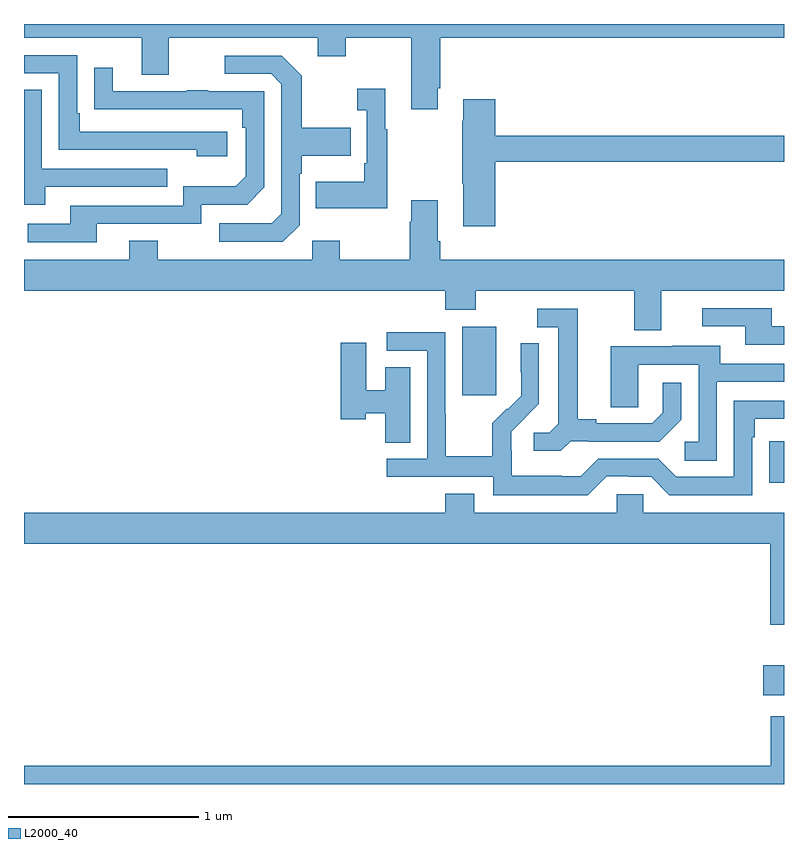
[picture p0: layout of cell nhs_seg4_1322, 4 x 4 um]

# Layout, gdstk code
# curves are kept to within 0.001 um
import gdstk
lib = gdstk.Library(unit=1e-6, precision=1e-09)
def R(c, l, rs):  # rectangles x0, y0, x1, y1
    for r in rs: c.add(gdstk.rectangle(r[:2], r[2:], *l))
def P(c, l, *ps):  # polygons
    for p in ps: c.add(gdstk.Polygon(p, *l))
L2000_40 = (2000, 40)

nhs_seg4_1322 = lib.new_cell('nhs_seg4_1322')
R(nhs_seg4_1322, L2000_40, [(182.892,785.366,183,785.524), (182.923,786.486,183,786.704), (181.307,786.945,181.486,787.306)])
P(nhs_seg4_1322, L2000_40, [(181.177,788.563),(181.19,788.563),(181.19,788.828),(183,788.828),(183,788.9),(179,788.9),(179,788.828),(179.621,788.828),(179.621,788.634),(179.761,788.634),(179.761,788.828),(180.545,788.828),(180.545,788.729),(180.693,788.729),(180.693,788.828),(181.037,788.828),(181.037,788.451),(181.177,788.451)],
  [(180.07,788.334),(179.293,788.334),(179.293,788.431),(179.28,788.431),(179.28,788.736),(179,788.736),(179,788.64),(179.184,788.64),(179.184,788.238),(179.909,788.238),(179.909,788.204),(180.07,788.204)],
  [(180.45,787.842),(180.45,788.111),(180.463,788.111),(180.463,788.207),(180.719,788.207),(180.719,788.355),(180.463,788.355),(180.463,788.627),(180.357,788.733),(180.057,788.733),(180.057,788.637),(180.3,788.637),(180.354,788.583),(180.354,787.902),(180.303,787.851),(180.027,787.851),(180.027,787.755),(180.363,787.755)],
  [(179.383,787.848),(179.934,787.848),(179.934,787.95),(180.174,787.95),(180.264,788.04),(180.264,788.547),(179.969,788.547),(179.969,788.552),(179.857,788.552),(179.857,788.547),(179.467,788.547),(179.467,788.671),(179.371,788.671),(179.371,788.452),(180.148,788.451),(180.148,788.354),(180.168,788.354),(180.168,788.1),(180.115,788.047),(179.838,788.047),(179.838,787.944),(179.243,787.944),(179.243,787.848),(179.019,787.848),(179.019,787.752),(179.383,787.752)],
  [(180.913,788.347),(180.901,788.347),(180.901,788.56),(180.753,788.56),(180.753,788.447),(180.804,788.447),(180.804,788.167),(180.792,788.167),(180.792,788.071),(180.535,788.071),(180.535,787.931),(180.913,787.931)],
  [(179.113,788.043),(179.753,788.043),(179.753,788.139),(179.094,788.139),(179.094,788.555),(179,788.555),(179,787.949),(179.113,787.949)],
  [(181.481,788.176),(183,788.176),(183,788.312),(181.481,788.312),(181.481,788.503),(181.313,788.503),(181.313,788.39),(181.306,788.39),(181.306,788.059),(181.313,788.059),(181.313,787.836),(181.481,787.836)],
  [(182.353,787.496),(183,787.496),(183,787.66),(181.19,787.66),(181.19,787.756),(181.177,787.756),(181.177,787.972),(181.037,787.972),(181.037,787.859),(181.03,787.859),(181.03,787.66),(180.663,787.66),(180.663,787.759),(180.516,787.759),(180.516,787.66),(179.703,787.66),(179.703,787.759),(179.555,787.759),(179.555,787.66),(179,787.66),(179,787.496),(181.217,787.496),(181.217,787.397),(181.377,787.397),(181.377,787.496),(182.213,787.496),(182.213,787.288),(182.353,787.288)],
  [(183,787.308),(182.935,787.308),(182.935,787.404),(182.571,787.404),(182.571,787.308),(182.795,787.308),(182.795,787.212),(183,787.212)],
  [(181.878,786.705),(181.972,786.705),(181.972,786.702),(182.344,786.702),(182.46,786.818),(182.46,787.012),(182.363,787.012),(182.363,786.855),(182.306,786.798),(182.011,786.798),(182.011,786.821),(181.915,786.821),(181.915,787.401),(181.701,787.401),(181.701,787.305),(181.811,787.305),(181.811,786.797),(181.764,786.75),(181.683,786.75),(181.683,786.653),(181.826,786.653)],
  [(182.067,786.519),(182.183,786.519),(182.183,786.516),(182.301,786.516),(182.397,786.42),(182.832,786.42),(182.832,786.725),(182.845,786.725),(182.845,786.822),(183,786.822),(183,786.918),(182.736,786.918),(182.736,786.516),(182.433,786.516),(182.337,786.612),(182.022,786.612),(181.929,786.519),(181.829,786.519),(181.829,786.523),(181.566,786.523),(181.566,786.657),(181.564,786.657),(181.564,786.754),(181.71,786.902),(181.71,787.22),(181.614,787.22),(181.614,787.066),(181.616,787.066),(181.616,786.944),(181.545,786.873),(181.542,786.876),(181.465,786.799),(181.465,786.625),(181.221,786.625),(181.221,786.848),(181.218,786.848),(181.218,787.278),(180.909,787.278),(180.909,787.179),(181.122,787.179),(181.122,786.612),(180.909,786.612),(180.909,786.516),(181.47,786.516),(181.47,786.419),(181.967,786.419)],
  [(181.033,787.094),(180.902,787.094),(180.902,786.973),(180.802,786.973),(180.802,787.222),(180.668,787.222),(180.668,786.821),(180.798,786.821),(180.798,786.851),(180.902,786.851),(180.902,786.697),(181.033,786.697)],
  [(182.646,787.017),(183,787.017),(183,787.113),(182.665,787.113),(182.665,787.207),(182.411,787.207),(182.411,787.203),(182.087,787.203),(182.087,786.883),(182.232,786.883),(182.232,787.107),(182.55,787.107),(182.55,786.702),(182.478,786.702),(182.478,786.601),(182.646,786.601)],
  [(183,786.328),(182.259,786.328),(182.259,786.426),(182.121,786.426),(182.121,786.328),(181.369,786.328),(181.369,786.427),(181.217,786.427),(181.217,786.328),(179,786.328),(179,786.164),(182.927,786.164),(182.927,785.739),(183,785.739)],
  [(183,785.257),(182.929,785.257),(182.929,784.996),(179,784.996),(179,784.9),(183,784.9)])

lib.write_gds('nhs_seg4_1322.gds')
